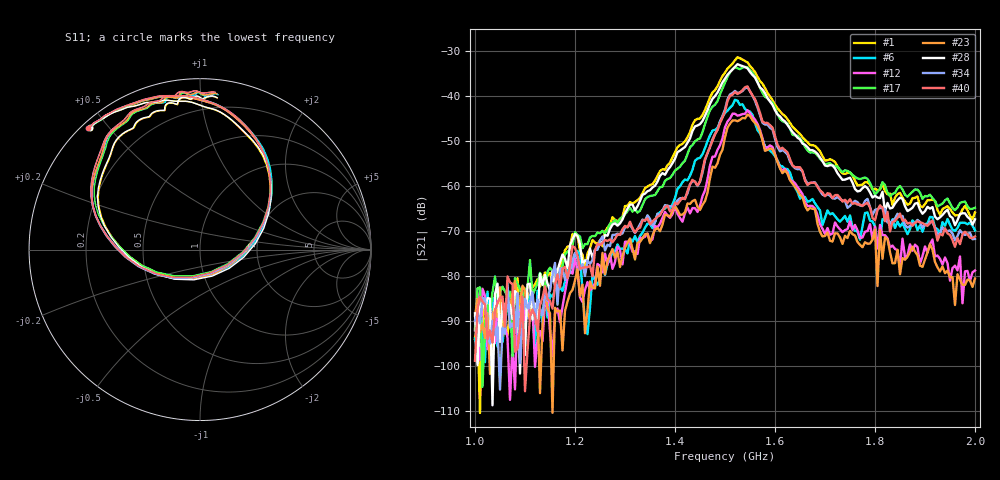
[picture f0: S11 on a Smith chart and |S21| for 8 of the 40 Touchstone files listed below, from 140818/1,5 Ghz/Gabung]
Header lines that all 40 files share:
# Hz S RI R 50
! CMT, C1220, 16058040, 17.2.0/1
! Data: Format (Calibration Info)
! Freq  S11: Re/Im (F2)  S21: Re/Im (F2)  S12: Re/Im (F2)  S22: Re/Im (F2)
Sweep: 1 GHz to 2 GHz
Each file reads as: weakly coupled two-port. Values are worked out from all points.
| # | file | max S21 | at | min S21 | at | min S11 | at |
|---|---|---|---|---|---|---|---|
| 1 | Sudut_0_Titik_1.s2p | -31.48 dB | 1.525 GHz | -110.5 dB | 1.01 GHz | -15.8 dB | 1.53 GHz |
| 2 | Sudut_0_Titik_5.s2p | -53.91 dB | 1.535 GHz | -104.4 dB | 1.07 GHz | -17.6 dB | 1.53 GHz |
| 3 | Sudut_0_Titik_6.s2p | -47.44 dB | 1.545 GHz | -102.4 dB | 1.095 GHz | -16.6 dB | 1.53 GHz |
| 4 | Sudut_0_Titik_7.s2p | -43.39 dB | 1.545 GHz | -111.6 dB | 1.13 GHz | -15.6 dB | 1.53 GHz |
| 5 | Sudut_0_Titik_8.s2p | -36.02 dB | 1.54 GHz | -93.5 dB | 1.005 GHz | -16.3 dB | 1.53 GHz |
| 6 | Sudut_10_Titik_3.s2p | -40.93 dB | 1.52 GHz | -99.2 dB | 1.02 GHz | -15.7 dB | 1.53 GHz |
| 7 | Sudut_10_Titik_5.s2p | -54.36 dB | 1.535 GHz | -99.0 dB | 1.23 GHz | -17.5 dB | 1.53 GHz |
| 8 | Sudut_10_Titik_6.s2p | -47.26 dB | 1.545 GHz | -106.2 dB | 1.93 GHz | -16.8 dB | 1.53 GHz |
| 9 | Sudut_10_Titik_7.s2p | -43.21 dB | 1.545 GHz | -98.0 dB | 1.11 GHz | -15.8 dB | 1.53 GHz |
| 10 | Sudut_10_Titik_8.s2p | -36.17 dB | 1.545 GHz | -104.8 dB | 1.09 GHz | -16.2 dB | 1.53 GHz |
| 11 | Sudut_20_Titik_6.s2p | -47.25 dB | 1.545 GHz | -112.0 dB | 1.04 GHz | -16.8 dB | 1.53 GHz |
| 12 | Sudut_20_Titik_7.s2p | -43.25 dB | 1.545 GHz | -107.6 dB | 1.07 GHz | -15.8 dB | 1.53 GHz |
| 13 | Sudut_30_Titik_1.s2p | -31.43 dB | 1.525 GHz | -113.1 dB | 1.005 GHz | -15.6 dB | 1.53 GHz |
| 14 | Sudut_30_Titik_4.s2p | -48.99 dB | 1.54 GHz | -98.2 dB | 1.01 GHz | -16.0 dB | 1.535 GHz |
| 15 | Sudut_30_Titik_5.s2p | -53.67 dB | 1.535 GHz | -102.0 dB | 1.135 GHz | -17.2 dB | 1.53 GHz |
| 16 | Sudut_30_Titik_6.s2p | -47.15 dB | 1.545 GHz | -116.9 dB | 1.21 GHz | -16.7 dB | 1.53 GHz |
| 17 | Sudut_30_Titik_9.s2p | -33.62 dB | 1.54 GHz | -104.7 dB | 1.015 GHz | -16.8 dB | 1.53 GHz |
| 18 | Sudut_40_Titik_1.s2p | -31.74 dB | 1.525 GHz | -102.2 dB | 1.03 GHz | -15.5 dB | 1.53 GHz |
| 19 | Sudut_40_Titik_3.s2p | -40.70 dB | 1.52 GHz | -94.7 dB | 1.095 GHz | -16.0 dB | 1.53 GHz |
| 20 | Sudut_40_Titik_5.s2p | -52.52 dB | 1.535 GHz | -103.7 dB | 1.12 GHz | -16.9 dB | 1.53 GHz |
| 21 | Sudut_50_Titik_1.s2p | -32.21 dB | 1.525 GHz | -95.1 dB | 1.05 GHz | -15.5 dB | 1.53 GHz |
| 22 | Sudut_50_Titik_6.s2p | -47.34 dB | 1.545 GHz | -116.3 dB | 1.975 GHz | -16.3 dB | 1.53 GHz |
| 23 | Sudut_50_Titik_7.s2p | -44.20 dB | 1.545 GHz | -110.5 dB | 1.155 GHz | -15.7 dB | 1.53 GHz |
| 24 | Sudut_60_Titik_1.s2p | -32.63 dB | 1.525 GHz | -102.5 dB | 1.07 GHz | -15.4 dB | 1.53 GHz |
| 25 | Sudut_60_Titik_2.s2p | -35.77 dB | 1.525 GHz | -106.9 dB | 1.01 GHz | -16.4 dB | 1.53 GHz |
| 26 | Sudut_60_Titik_5.s2p | -51.01 dB | 1.535 GHz | -113.2 dB | 1.225 GHz | -16.4 dB | 1.53 GHz |
| 27 | Sudut_60_Titik_9.s2p | -34.63 dB | 1.54 GHz | -98.7 dB | 1.085 GHz | -16.8 dB | 1.53 GHz |
| 28 | Sudut_70_Titik_1.s2p | -33.01 dB | 1.525 GHz | -108.8 dB | 1.035 GHz | -15.4 dB | 1.53 GHz |
| 29 | Sudut_70_Titik_8.s2p | -38.05 dB | 1.545 GHz | -107.5 dB | 1.065 GHz | -16.1 dB | 1.53 GHz |
| 30 | Sudut_80_Titik_1.s2p | -33.22 dB | 1.525 GHz | -105.3 dB | 1.045 GHz | -15.4 dB | 1.53 GHz |
| 31 | Sudut_80_Titik_3.s2p | -40.51 dB | 1.52 GHz | -98.7 dB | 1.12 GHz | -16.8 dB | 1.53 GHz |
| 32 | Sudut_80_Titik_4.s2p | -46.88 dB | 1.52 GHz | -101.7 dB | 1.08 GHz | -15.5 dB | 1.53 GHz |
| 33 | Sudut_80_Titik_6.s2p | -47.83 dB | 1.545 GHz | -105.3 dB | 1.065 GHz | -15.6 dB | 1.53 GHz |
| 34 | Sudut_80_Titik_8.s2p | -38.14 dB | 1.545 GHz | -105.3 dB | 1.05 GHz | -16.3 dB | 1.53 GHz |
| 35 | Sudut_90_Titik_2.s2p | -36.68 dB | 1.525 GHz | -105.6 dB | 1.005 GHz | -16.5 dB | 1.53 GHz |
| 36 | Sudut_90_Titik_9.s2p | -34.79 dB | 1.54 GHz | -94.3 dB | 1.045 GHz | -16.9 dB | 1.53 GHz |
| 37 | Sudut_100_Titik_3.s2p | -40.79 dB | 1.52 GHz | -110.3 dB | 1.065 GHz | -16.7 dB | 1.53 GHz |
| 38 | Sudut_100_Titik_4.s2p | -47.23 dB | 1.52 GHz | -104.7 dB | 1.06 GHz | -15.3 dB | 1.53 GHz |
| 39 | Sudut_100_Titik_6.s2p | -47.49 dB | 1.545 GHz | -103.0 dB | 1.125 GHz | -15.3 dB | 1.53 GHz |
| 40 | Sudut_100_Titik_8.s2p | -37.97 dB | 1.545 GHz | -105.7 dB | 1.1 GHz | -16.5 dB | 1.53 GHz |
